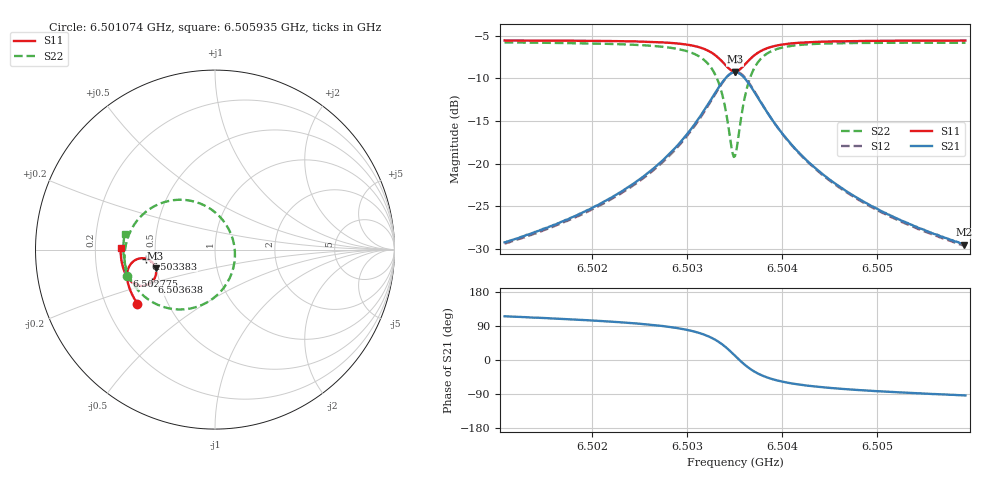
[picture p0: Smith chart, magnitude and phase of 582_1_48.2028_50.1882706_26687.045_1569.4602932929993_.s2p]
#  HZ  S  RI  R  50.00
! Rohde & Schwarz Vector Network Analyzer
! Rohde-Schwarz,ZNB20-2Port,1311601062101988,3.16
! Created: UTC 3/20/2024, 12:02:08 PM
! freq[Hz]  re:S11  im:S11  re:S21  im:S21  re:S12  im:S12  re:S22  im:S22
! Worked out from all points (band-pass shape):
!   401 points, 6.501074 GHz to 6.505935 GHz, reference 50 ohm
!   highest |S21| = -9.30 dB at 6.503504 GHz (marker M1); lowest = -29.5 dB at 6.505922 GHz (marker M2)
!   |S21| within 3 dB of the highest: 6.503262 GHz to 6.503748 GHz (485.6 kHz wide, 0.00747 % of centre)
!   lowest |S11| = -9.2 dB at 6.503504 GHz (marker M3), VSWR 2.06, Z = 24.7 - j5.73 ohm
!   |S11| at or under -10 dB: nowhere
!   |S22| runs from -19.2 to -5.8 dB; largest |S21 - S12| = 0.012
!   S11 on the Smith chart (normalised r, x): 6.501074 GHz: 0.34, -0.28; 6.502775 GHz: 0.33, -0.13; 6.503383 GHz: 0.44, -0.05; 6.503638 GHz: 0.45, -0.19; 6.505935 GHz: 0.31, +0.01
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6.5010742e9  -0.4318 -0.3019  -0.0149 0.0313  -0.0131 0.0314  -0.4925 -0.1447
6.5018883e9  -0.4661 -0.2406  -0.014 0.0496  -0.0115 0.0491  -0.5038 -0.0562
6.5023258e9  -0.481 -0.2011  -0.011 0.069  -0.00788 0.0678  -0.4998 0.00736
6.5027024e9  -0.4895 -0.1585  -0.00124 0.1  0.00245 0.0976  -0.4786 0.0853
6.5027753e9  -0.4901 -0.1485  0.00276 0.1088  0.00642 0.1062  -0.4698 0.1047
6.5029819e9  -0.4862 -0.115  0.0244 0.1428  0.028 0.1388  -0.4249 0.1724
6.5031399e9  -0.4711 -0.0827  0.0642 0.1792  0.0669 0.1734  -0.3476 0.2363
6.5032857e9  -0.433 -0.053  0.1467 0.2084  0.1473 0.2023  -0.1972 0.2777
6.5033829e9  -0.3859 -0.0502  0.239 0.1917  0.2392 0.1872  -0.0374 0.2344
6.5034679e9  -0.3424 -0.0797  0.3184 0.1163  0.321 0.1125  0.0892 0.0862
6.5035044e9  -0.3313 -0.1022  0.3362 0.0669  0.3403 0.0618  0.1106 -0.00641
6.5035287e9  -0.3281 -0.1187  0.3398 0.0319  0.344 0.0254  0.1082 -0.0707
6.5035652e9  -0.3303 -0.1431  0.3326 -0.0189  0.3362 -0.0278  0.0808 -0.1609
6.5036381e9  -0.3528 -0.1808  0.2851 -0.0963  0.2853 -0.1079  -0.0308 -0.286
6.5037474e9  -0.399 -0.2014  0.1969 -0.1421  0.1919 -0.1524  -0.2094 -0.3332
6.5039054e9  -0.4468 -0.192  0.1118 -0.1382  0.1048 -0.1435  -0.3623 -0.2839
6.5040755e9  -0.4751 -0.1706  0.0659 -0.1169  0.0594 -0.1194  -0.4367 -0.2169
6.5043185e9  -0.4962 -0.1407  0.0349 -0.0915  0.03 -0.092  -0.4813 -0.1427
6.5046587e9  -0.5111 -0.1042  0.0162 -0.0684  0.0128 -0.068  -0.5034 -0.0711
6.5051326e9  -0.5213 -0.0595  0.0052 -0.0499  0.00291 -0.0491  -0.5106 -0.0013
6.5059224e9  -0.5265 0.00793  -0.00187 -0.0335  -0.0033 -0.0329  -0.5037 0.0843
6.5059346e9  -0.5264 0.00901  -0.00203 -0.0335  -0.00342 -0.0327  -0.5034 0.0855
